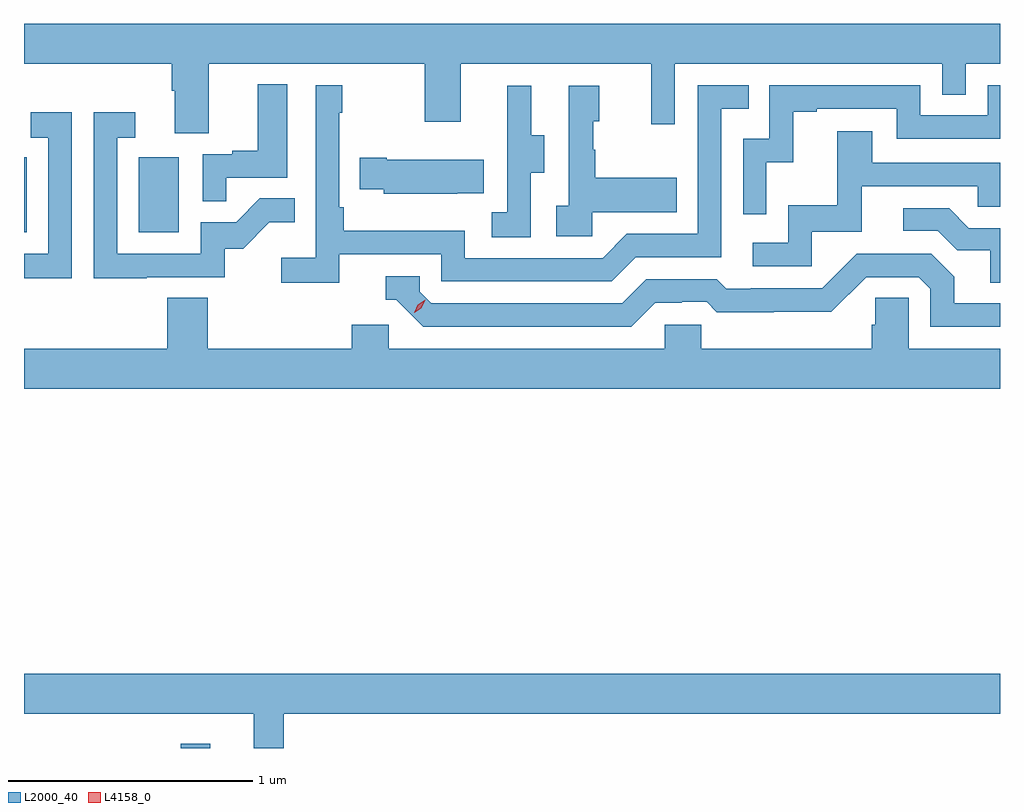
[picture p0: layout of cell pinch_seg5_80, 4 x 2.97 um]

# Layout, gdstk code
import gdstk
lib = gdstk.Library(unit=1e-6, precision=1e-09)
def R(c, l, rs):  # rectangles x0, y0, x1, y1
    for r in rs: c.add(gdstk.rectangle(r[:2], r[2:], *l))
def P(c, l, *ps):  # polygons
    for p in ps: c.add(gdstk.Polygon(p, *l))
L2000_40 = (2000, 40)
L4158_0 = (4158, 0)

pinch_seg5_80 = lib.new_cell('pinch_seg5_80')
R(pinch_seg5_80, L2000_40, [(1041.282,904.569,1041.403,904.588), (1040.639,906.684,1040.65,906.991), (1041.11,906.684,1041.274,906.991)])
P(pinch_seg5_80, L2000_40, [(1041.397,907.376),(1042.282,907.376),(1042.282,907.137),(1042.429,907.137),(1042.429,907.376),(1043.21,907.376),(1043.21,907.128),(1043.307,907.128),(1043.307,907.376),(1044.402,907.376),(1044.402,907.249),(1044.498,907.249),(1044.498,907.376),(1044.639,907.376),(1044.639,907.54),(1040.639,907.54),(1040.639,907.376),(1041.245,907.376),(1041.245,907.264),(1041.257,907.264),(1041.257,907.09),(1041.397,907.09)],
  [(1041.467,906.909),(1041.718,906.909),(1041.718,907.291),(1041.596,907.291),(1041.596,907.018),(1041.493,907.018),(1041.493,907.005),(1041.372,907.005),(1041.372,906.811),(1041.467,906.811)],
  [(1041.932,906.594),(1042.35,906.594),(1042.35,906.483),(1043.047,906.483),(1043.146,906.582),(1043.496,906.582),(1043.496,907.191),(1043.609,907.191),(1043.609,907.287),(1043.4,907.287),(1043.4,906.678),(1043.109,906.678),(1043.01,906.579),(1042.446,906.579),(1042.446,906.691),(1041.95,906.691),(1041.95,906.787),(1041.93,906.787),(1041.93,907.175),(1041.943,907.175),(1041.943,907.288),(1041.834,907.288),(1041.834,906.58),(1041.693,906.58),(1041.693,906.478),(1041.932,906.478)],
  [(1043.682,906.971),(1043.792,906.971),(1043.792,907.179),(1043.887,907.179),(1043.887,907.191),(1044.216,907.191),(1044.216,907.068),(1044.639,907.068),(1044.639,907.287),(1044.588,907.287),(1044.588,907.164),(1044.312,907.164),(1044.312,907.287),(1043.694,907.287),(1043.694,907.068),(1043.586,907.068),(1043.586,906.759),(1043.682,906.759)],
  [(1042.968,906.767),(1043.315,906.767),(1043.315,906.907),(1042.981,906.907),(1042.981,907.022),(1042.971,907.022),(1042.971,907.14),(1042.996,907.14),(1042.996,907.285),(1042.872,907.285),(1042.872,906.794),(1042.821,906.794),(1042.821,906.669),(1042.968,906.669)],
  [(1042.716,906.928),(1042.771,906.928),(1042.771,907.083),(1042.717,907.083),(1042.717,907.285),(1042.619,907.285),(1042.619,907.071),(1042.62,907.071),(1042.62,906.767),(1042.557,906.767),(1042.557,906.664),(1042.716,906.664)],
  [(1041.143,906.501),(1041.462,906.501),(1041.462,906.618),(1041.538,906.618),(1041.645,906.725),(1041.749,906.725),(1041.749,906.824),(1041.606,906.824),(1041.508,906.726),(1041.363,906.726),(1041.363,906.597),(1041.021,906.597),(1041.021,907.071),(1041.094,907.071),(1041.094,907.177),(1040.925,907.177),(1040.925,906.496),(1041.143,906.496)],
  [(1040.835,907.177),(1040.667,907.177),(1040.667,907.071),(1040.739,907.071),(1040.739,906.597),(1040.639,906.597),(1040.639,906.496),(1040.835,906.496)],
  [(1043.868,906.687),(1044.073,906.687),(1044.073,906.873),(1044.547,906.873),(1044.547,906.789),(1044.639,906.789),(1044.639,906.969),(1044.115,906.969),(1044.115,907.099),(1043.971,907.099),(1043.971,906.796),(1043.772,906.796),(1043.772,906.642),(1043.625,906.642),(1043.625,906.546),(1043.868,906.546)],
  [(1042.415,906.845),(1042.523,906.845),(1042.523,906.982),(1042.126,906.982),(1042.126,906.99),(1042.015,906.99),(1042.015,906.86),(1042.113,906.86),(1042.113,906.842),(1042.415,906.842)],
  [(1044.639,906.702),(1044.511,906.702),(1044.43,906.783),(1044.243,906.783),(1044.243,906.69),(1044.384,906.69),(1044.464,906.61),(1044.599,906.61),(1044.599,906.478),(1044.639,906.478)],
  [(1043.227,906.396),(1043.334,906.396),(1043.334,906.399),(1043.437,906.399),(1043.479,906.357),(1043.712,906.357),(1043.712,906.359),(1043.948,906.359),(1044.09,906.501),(1044.306,906.501),(1044.354,906.453),(1044.354,906.297),(1044.639,906.297),(1044.639,906.393),(1044.451,906.393),(1044.451,906.503),(1044.357,906.597),(1044.051,906.597),(1043.91,906.456),(1043.617,906.456),(1043.617,906.453),(1043.518,906.453),(1043.479,906.492),(1043.19,906.492),(1043.091,906.393),(1042.308,906.393),(1042.26,906.441),(1042.26,906.504),(1042.121,906.504),(1042.121,906.408),(1042.164,906.408),(1042.275,906.297),(1043.128,906.297)],
  [(1044.639,906.208),(1044.264,906.208),(1044.264,906.416),(1044.127,906.416),(1044.127,906.306),(1044.113,906.306),(1044.113,906.208),(1043.415,906.208),(1043.415,906.306),(1043.265,906.306),(1043.265,906.208),(1042.134,906.208),(1042.134,906.306),(1041.983,906.306),(1041.983,906.208),(1041.392,906.208),(1041.392,906.416),(1041.227,906.416),(1041.227,906.208),(1040.639,906.208),(1040.639,906.044),(1044.639,906.044)],
  [(1041.703,904.712),(1044.639,904.712),(1044.639,904.876),(1040.639,904.876),(1040.639,904.712),(1041.581,904.712),(1041.581,904.569),(1041.703,904.569)])
P(pinch_seg5_80, L4158_0, [(1042.238,906.354),(1042.238,906.354),(1042.253,906.387),(1042.283,906.407),(1042.284,906.407),(1042.284,906.407),(1042.268,906.374),(1042.238,906.354)])

lib.write_gds('pinch_seg5_80.gds')
